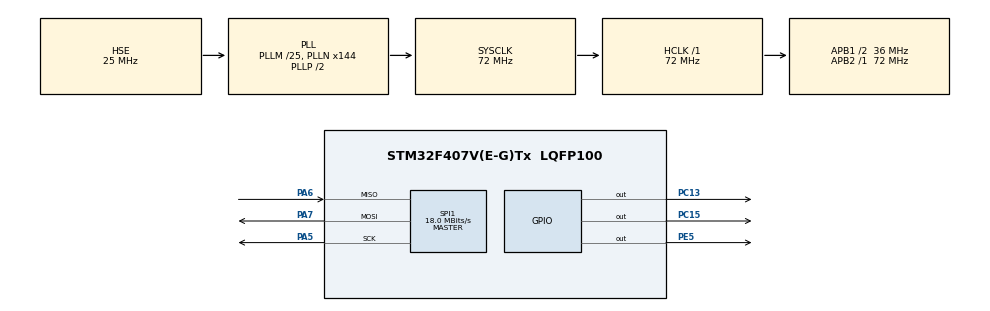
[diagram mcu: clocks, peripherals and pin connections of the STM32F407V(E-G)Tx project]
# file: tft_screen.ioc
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Mcu.Family=STM32F4
Mcu.Name=STM32F407V(E-G)Tx
Mcu.Package=LQFP100
NVIC.PriorityGroup=NVIC_PRIORITYGROUP_4
PA13.Mode=Serial_Wire
PA13.Signal=SYS_JTMS-SWDIO
PA14.Mode=Serial_Wire
PA14.Signal=SYS_JTCK-SWCLK
PA5.Mode=Full_Duplex_Master
PA5.Signal=SPI1_SCK
PA6.Mode=Full_Duplex_Master
PA6.Signal=SPI1_MISO
PA7.Mode=Full_Duplex_Master
PA7.Signal=SPI1_MOSI
PC13-ANTI_TAMP.Signal=GPIO_Output
PC15-OSC32_OUT.Signal=GPIO_Output
PE5.Signal=GPIO_Output
PH0-OSC_IN.Mode=HSE-External-Oscillator
PH0-OSC_IN.Signal=RCC_OSC_IN
PH1-OSC_OUT.Mode=HSE-External-Oscillator
PH1-OSC_OUT.Signal=RCC_OSC_OUT
ProjectManager.HeapSize=0x200
ProjectManager.StackSize=0x400
ProjectManager.TargetToolchain=MDK-ARM V5.32
RCC.48MHZClocksFreq_Value=36000000
RCC.AHBFreq_Value=72000000
RCC.APB1CLKDivider=RCC_HCLK_DIV2
RCC.APB1Freq_Value=36000000
RCC.APB1TimFreq_Value=72000000
RCC.APB2Freq_Value=72000000
RCC.APB2TimFreq_Value=72000000
RCC.CortexFreq_Value=72000000
RCC.HCLKFreq_Value=72000000
RCC.HSE_VALUE=25000000
RCC.HSI_VALUE=16000000
RCC.LSE_VALUE=32768
RCC.PLLM=25
RCC.PLLN=144
RCC.PLLSourceVirtual=RCC_PLLSOURCE_HSE
RCC.SYSCLKFreq_VALUE=72000000
RCC.SYSCLKSource=RCC_SYSCLKSOURCE_PLLCLK
RCC.VCOOutputFreq_Value=144000000
SPI1.BaudRatePrescaler=SPI_BAUDRATEPRESCALER_4
SPI1.CalculateBaudRate=18.0 MBits/s
SPI1.Direction=SPI_DIRECTION_2LINES
SPI1.Mode=SPI_MODE_MASTER
SPI1.VirtualType=VM_MASTER
board=custom

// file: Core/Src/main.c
/* USER CODE BEGIN Header */
/**
  ******************************************************************************
  * @file           : main.c
  * @brief          : Main program body
  ******************************************************************************
  * @attention
  *
  * Copyright (c) 2025 STMicroelectronics.
  * All rights reserved.
  *
  * This software is licensed under terms that can be found in the LICENSE file
  * in the root directory of this software component.
  * If no LICENSE file comes with this software, it is provided AS-IS.
  *
  ******************************************************************************
  */
/* USER CODE END Header */
#include "main.h"

/* USER CODE BEGIN Includes */
#define 			RES_PORT 			GPIOC
#define 			RES_PIN 			GPIO_PIN_13
#define 			DC_PORT 			GPIOE
#define 			DC_PIN 				GPIO_PIN_5
#define 			CS_PORT 			GPIOC
#define 			CS_PIN 				GPIO_PIN_15
#define 			u8						uint8_t
#define 			u16						uint16_t
/* USER CODE END Includes */

SPI_HandleTypeDef hspi1;

void SystemClock_Config(void);
static void MX_GPIO_Init(void);
static void MX_SPI1_Init(void);

/* USER CODE BEGIN 0 */

void tft_write_cmd(u8 cmd){
	// Cho CS xuong 0 sau do len 1
	HAL_GPIO_WritePin(CS_PORT, CS_PIN, 0);
	// De gui cmd can keo DC xuong 0
	HAL_GPIO_WritePin(DC_PORT, DC_PIN, 0);
	HAL_SPI_Transmit(&hspi1, &cmd, sizeof(cmd), 1000);
	HAL_GPIO_WritePin(CS_PORT, CS_PIN, 1);
}

void tft_write_data(u8 data){
	// Cho CS xuong 0 sau do len 1
	HAL_GPIO_WritePin(CS_PORT, CS_PIN, 0);
	// De gui data can keo DC len 1
	HAL_GPIO_WritePin(DC_PORT, DC_PIN, 1);
	HAL_SPI_Transmit(&hspi1, &data, sizeof(data), 1000);
	HAL_GPIO_WritePin(CS_PORT, CS_PIN, 1);
}

void set_pos(u8 x1, u8 y1, u8 x2, u8 y2){
    tft_write_cmd(0x2A);
    tft_write_data(0x00);
    tft_write_data(x1);
    tft_write_data(0x00);
    tft_write_data(x2);

    tft_write_cmd(0x2B);
    tft_write_data(0x00);
    tft_write_data(y1);
    tft_write_data(0x00);
    tft_write_data(y2);
}

void tft_init(){
    HAL_GPIO_WritePin(RES_PORT, RES_PIN, 0);
    HAL_Delay(50);
    HAL_GPIO_WritePin(RES_PORT, RES_PIN, 1);
    HAL_Delay(50);
    HAL_GPIO_WritePin(CS_PORT, CS_PIN, 0);

    // Software reset
    tft_write_cmd(0x01);
    HAL_Delay(150);

    // Sleep out
    tft_write_cmd(0x11);
    HAL_Delay(150);

    // Frame rate control
    tft_write_cmd(0xB1);
    tft_write_data(0x05);
    tft_write_data(0x3C);
    tft_write_data(0x3C);

    // Frame rate control (in idle mode)
    tft_write_cmd(0xB2);
    tft_write_data(0x05);
    tft_write_data(0x3C);
    tft_write_data(0x3C);

    // Frame rate control (in partial mode)
    tft_write_cmd(0xB3);
    tft_write_data(0x05);
    tft_write_data(0x3C);
    tft_write_data(0x3C);
    tft_write_data(0x05);
    tft_write_data(0x3C);
    tft_write_data(0x3C);

    // Display inversion control
    tft_write_cmd(0xB4);
    tft_write_data(0x03);

    // Power control
    tft_write_cmd(0xC0);
    tft_write_data(0x28);
    tft_write_data(0x08);
    tft_write_data(0x04);

    tft_write_cmd(0xC1);
    tft_write_data(0xC0);

    tft_write_cmd(0xC2);
    tft_write_data(0x0D);
    tft_write_data(0x00);

    tft_write_cmd(0xC3);
    tft_write_data(0x8D);
    tft_write_data(0x2A);

    tft_write_cmd(0xC4);
    tft_write_data(0x8D);
    tft_write_data(0xEE);

    // VCOM control
    tft_write_cmd(0xC5);
    tft_write_data(0x1A);

    // Gamma adjustment
    tft_write_cmd(0xE0);
    tft_write_data(0x04);
    tft_write_data(0x22);
    tft_write_data(0x07);
    tft_write_data(0x0A);
    tft_write_data(0x2E);
    tft_write_data(0x30);
    tft_write_data(0x25);
    tft_write_data(0x2A);
    tft_write_data(0x28);
    tft_write_data(0x26);
    tft_write_data(0x2E);
    tft_write_data(0x3A);
    tft_write_data(0x00);
    tft_write_data(0x01);
    tft_write_data(0x03);
    tft_write_data(0x13);

    tft_write_cmd(0xE1);
    tft_write_data(0x04);
    tft_write_data(0x16);
    tft_write_data(0x06);
    tft_write_data(0x0D);
    tft_write_data(0x2D);
    tft_write_data(0x26);
    tft_write_data(0x23);
    tft_write_data(0x27);
    tft_write_data(0x27);
    tft_write_data(0x25);
    tft_write_data(0x2D);
    tft_write_data(0x3B);
    tft_write_data(0x00);
    tft_write_data(0x01);
    tft_write_data(0x04);
    tft_write_data(0x13);

    // Memory Access Control (MADCTL) - Ð?m b?o RGB
    tft_write_cmd(0x36);
    tft_write_data(0x00); // RGB, không xoay

    // Pixel Format - RGB565
    tft_write_cmd(0x3A);
    tft_write_data(0x05);

    // Set display area
    set_pos(26, 1, 105, 160); // Offset cho ST7735S: X+26, Y+1

    // Display ON
    tft_write_cmd(0x29);
    HAL_Delay(150);

    HAL_GPIO_WritePin(CS_PORT, CS_PIN, 1);
}

void full_screen(u16 color){
    HAL_GPIO_WritePin(CS_PORT, CS_PIN, 0);
    tft_write_cmd(0x2C);
    for(u16 i=0; i<80*160; i++){
				tft_write_data(color & 0xFF);
        tft_write_data(color >> 8);

    }
    HAL_GPIO_WritePin(CS_PORT, CS_PIN, 1);
}
/* USER CODE END 0 */

int main(void)
{

  /* MCU Configuration--------------------------------------------------------*/

  /* Reset of all peripherals, Initializes the Flash interface and the Systick. */
  HAL_Init();

  /* Configure the system clock */
  SystemClock_Config();

  /* Initialize all configured peripherals */
  MX_GPIO_Init();
  MX_SPI1_Init();
  /* USER CODE BEGIN 2 */
	tft_init();
	full_screen(0xF800); // Ð? trong BGR
  /* USER CODE END 2 */

  /* Infinite loop */
  while (1)
  {

  }
}

void SystemClock_Config(void)
{
  RCC_OscInitTypeDef RCC_OscInitStruct = {0};
  RCC_ClkInitTypeDef RCC_ClkInitStruct = {0};

  /** Configure the main internal regulator output voltage
  */
  __HAL_RCC_PWR_CLK_ENABLE();
  __HAL_PWR_VOLTAGESCALING_CONFIG(PWR_REGULATOR_VOLTAGE_SCALE1);

  /** Initializes the RCC Oscillators according to the specified parameters
  * in the RCC_OscInitTypeDef structure.
  */
  RCC_OscInitStruct.OscillatorType = RCC_OSCILLATORTYPE_HSE;
  RCC_OscInitStruct.HSEState = RCC_HSE_ON;
  RCC_OscInitStruct.PLL.PLLState = RCC_PLL_ON;
  RCC_OscInitStruct.PLL.PLLSource = RCC_PLLSOURCE_HSE;
  RCC_OscInitStruct.PLL.PLLM = 25;
  RCC_OscInitStruct.PLL.PLLN = 144;
  RCC_OscInitStruct.PLL.PLLP = RCC_PLLP_DIV2;
  RCC_OscInitStruct.PLL.PLLQ = 4;
  if (HAL_RCC_OscConfig(&RCC_OscInitStruct) != HAL_OK)
  {
    Error_Handler();
  }

  /** Initializes the CPU, AHB and APB buses clocks
  */
  RCC_ClkInitStruct.ClockType = RCC_CLOCKTYPE_HCLK|RCC_CLOCKTYPE_SYSCLK
                              |RCC_CLOCKTYPE_PCLK1|RCC_CLOCKTYPE_PCLK2;
  RCC_ClkInitStruct.SYSCLKSource = RCC_SYSCLKSOURCE_PLLCLK;
  RCC_ClkInitStruct.AHBCLKDivider = RCC_SYSCLK_DIV1;
  RCC_ClkInitStruct.APB1CLKDivider = RCC_HCLK_DIV2;
  RCC_ClkInitStruct.APB2CLKDivider = RCC_HCLK_DIV1;

  if (HAL_RCC_ClockConfig(&RCC_ClkInitStruct, FLASH_LATENCY_2) != HAL_OK)
  {
    Error_Handler();
  }
}

static void MX_SPI1_Init(void)
{

  /* SPI1 parameter configuration*/
  hspi1.Instance = SPI1;
  hspi1.Init.Mode = SPI_MODE_MASTER;
  hspi1.Init.Direction = SPI_DIRECTION_2LINES;
  hspi1.Init.DataSize = SPI_DATASIZE_8BIT;
  hspi1.Init.CLKPolarity = SPI_POLARITY_LOW;
  hspi1.Init.CLKPhase = SPI_PHASE_1EDGE;
  hspi1.Init.NSS = SPI_NSS_SOFT;
  hspi1.Init.BaudRatePrescaler = SPI_BAUDRATEPRESCALER_4;
  hspi1.Init.FirstBit = SPI_FIRSTBIT_MSB;
  hspi1.Init.TIMode = SPI_TIMODE_DISABLE;
  hspi1.Init.CRCCalculation = SPI_CRCCALCULATION_DISABLE;
  hspi1.Init.CRCPolynomial = 10;
  if (HAL_SPI_Init(&hspi1) != HAL_OK)
  {
    Error_Handler();
  }

}

static void MX_GPIO_Init(void)
{
  GPIO_InitTypeDef GPIO_InitStruct = {0};

  /* GPIO Ports Clock Enable */
  __HAL_RCC_GPIOE_CLK_ENABLE();
  __HAL_RCC_GPIOC_CLK_ENABLE();
  __HAL_RCC_GPIOH_CLK_ENABLE();
  __HAL_RCC_GPIOA_CLK_ENABLE();

  /*Configure GPIO pin Output Level */
  HAL_GPIO_WritePin(GPIOE, GPIO_PIN_5, GPIO_PIN_RESET);

  /*Configure GPIO pin Output Level */
  HAL_GPIO_WritePin(GPIOC, GPIO_PIN_13|GPIO_PIN_15, GPIO_PIN_RESET);

  /*Configure GPIO pin : PE5 */
  GPIO_InitStruct.Pin = GPIO_PIN_5;
  GPIO_InitStruct.Mode = GPIO_MODE_OUTPUT_PP;
  GPIO_InitStruct.Pull = GPIO_NOPULL;
  GPIO_InitStruct.Speed = GPIO_SPEED_FREQ_LOW;
  HAL_GPIO_Init(GPIOE, &GPIO_InitStruct);

  /*Configure GPIO pins : PC13 PC15 */
  GPIO_InitStruct.Pin = GPIO_PIN_13|GPIO_PIN_15;
  GPIO_InitStruct.Mode = GPIO_MODE_OUTPUT_PP;
  GPIO_InitStruct.Pull = GPIO_NOPULL;
  GPIO_InitStruct.Speed = GPIO_SPEED_FREQ_LOW;
  HAL_GPIO_Init(GPIOC, &GPIO_InitStruct);

}

void Error_Handler(void)
{
  __disable_irq();
  while (1)
  {
  }
}
